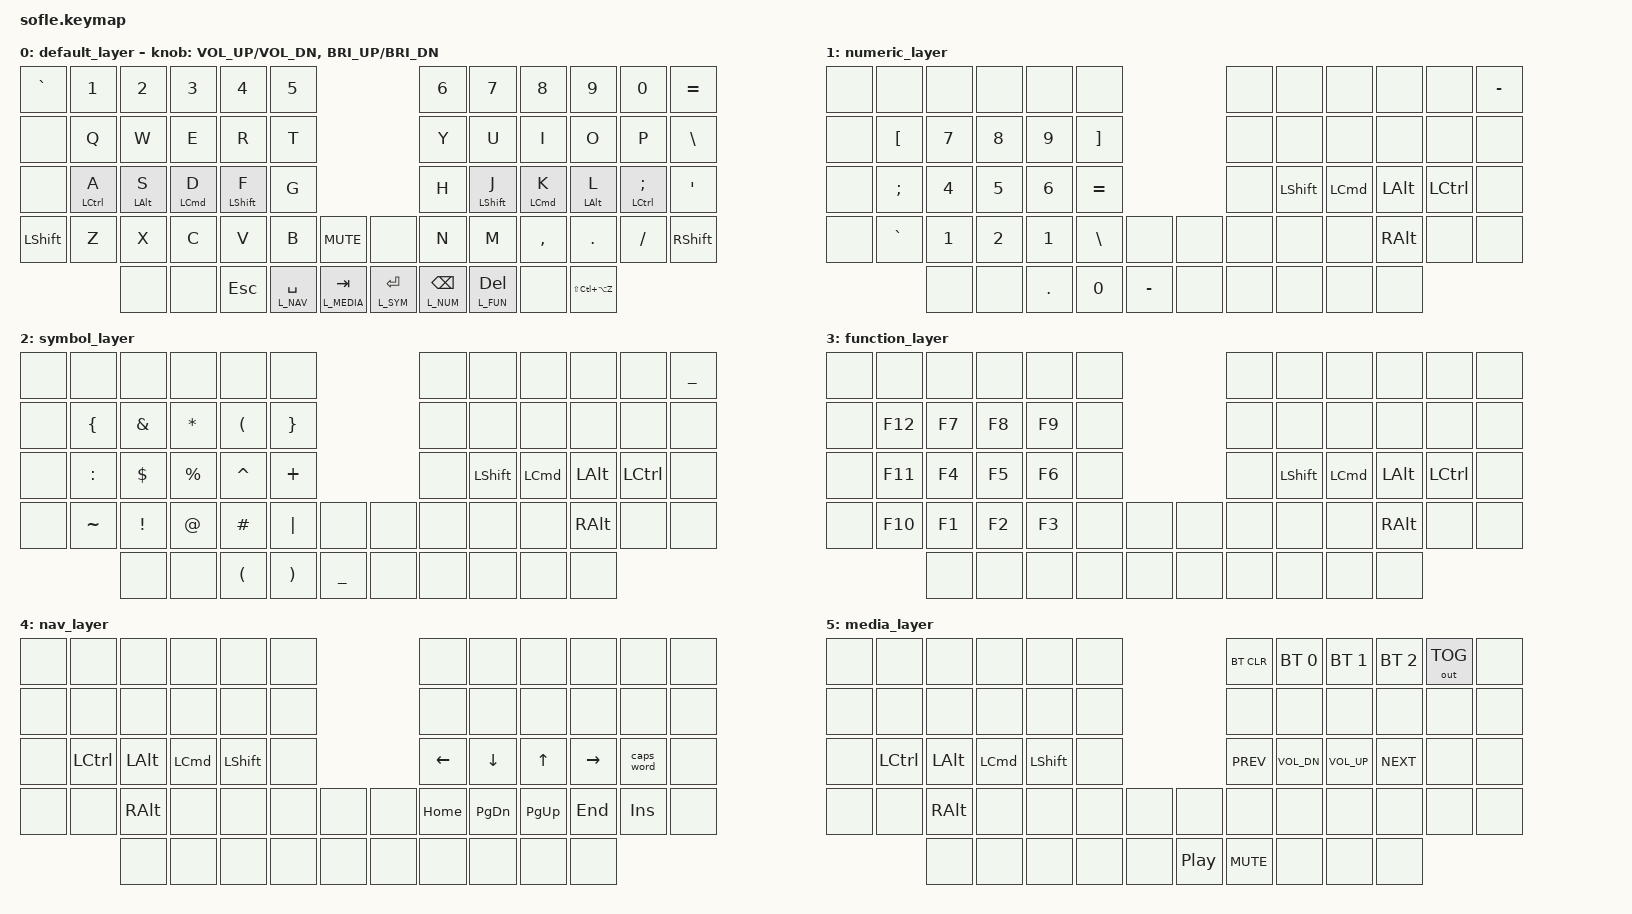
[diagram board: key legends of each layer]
// SPDX-License-Identifier: MIT

#include <behaviors.dtsi>
#include <dt-bindings/zmk/bt.h>
#include <dt-bindings/zmk/keys.h>
#include <dt-bindings/zmk/outputs.h>

#define L_BASE  0
#define L_NUM   1
#define L_SYM   2
#define L_FUN   3
#define L_NAV   4
#define L_MEDIA 5

/ {
    behaviors {
        hm: homerow_mods {
            compatible = "zmk,behavior-hold-tap";
            label = "HOMEROW_MODS";
            #binding-cells = <2>;
            tapping-term-ms = <200>;
            quick_tap_ms = <0>;
            flavor = "tap-preferred";
            bindings = <&kp>, <&kp>;
        };
    };

    keymap {
        compatible = "zmk,keymap";

        default_layer {
            // ------------------------------------------------------------------------------------------------------------
            // |     |  1  |  2  |  3  |  4  |  5  |              |  6  |  7  |  8  |  9  |  0  |     |
            // |     |  Q  |  W  |  E  |  R  |  T  |              |  Y  |  U  |  I  |  O  |  P  |     |
            // |     |  A  |  S  |  D  |  F  |  G  |              |  H  |  J  |  K  |  L  |  '  |     |
            // |     |  Z  |  X  |  C  |  V  |  B  | MUTE | |     |  N  |  M  |  ,  |  .  |  /  |     |
            //             |     |     | ESC |     | TAB  | |  ↵  |  ⌫  |  ␡  |     |     |

            bindings = <
&kp GRAVE       &kp N1       &kp N2      &kp N3      &kp N4       &kp N5                                             &kp N6          &kp N7         &kp N8      &kp N9      &kp N0          &kp EQUAL
&none           &kp Q        &kp W       &kp E       &kp R        &kp T                                              &kp Y           &kp U          &kp I       &kp O       &kp P           &kp BACKSLASH
&none           &hm LCTRL A  &hm LALT S  &hm LCMD D  &hm LSHFT F  &kp G                                              &kp H           &hm LSHFT J    &hm LCMD K  &hm LALT L  &hm LCTRL SEMI  &kp SQT
&kp LEFT_SHIFT  &kp Z        &kp X       &kp C       &kp V        &kp B            &kp C_MUTE         &none          &kp N           &kp M          &kp COMMA   &kp DOT     &kp FSLH        &kp RIGHT_SHIFT
                             &none       &none       &kp ESC      &lt L_NAV SPACE  &lt L_MEDIA TAB    &lt L_SYM RET  &lt L_NUM BSPC  &lt L_FUN DEL  &none       &kp LS(LC(LA(Z)))
            >;

            sensor-bindings = <&inc_dec_kp C_VOL_UP C_VOL_DN &inc_dec_kp C_BRI_UP C_BRI_DN>;
        };

        numeric_layer {
            // ------------------------------------------------------------------------------------------------------------
            // |     |     |     |     |     |     |             |     |       |       |       |       |     |
            // |     |  [  |  7  |  8  |  9  |  ]  |             |     |       |       |       |       |     |
            // |     |  ;  |  4  |  5  |  6  |  =  |             |     | LSHFT | LCMD  | LALT  | LCTRL |     |
            // |     |  `  |  1  |  2  |  3  |  \  |             |     |       |       | RALT  |       |     |
            //             |     |     |  .  |  0  |  -  | |     |     |       |       |       |

            bindings = <
&none  &none      &none   &none   &none    &none                          &none  &none      &none     &none     &none      &kp MINUS
&none  &kp LBKT   &kp N7  &kp N8  &kp N9   &kp RBKT                       &none  &none      &none     &none     &none      &none
&none  &kp SEMI   &kp N4  &kp N5  &kp N6   &kp EQUAL                      &none  &kp LSHFT  &kp LCMD  &kp LALT  &kp LCTRL  &none
&none  &kp GRAVE  &kp N1  &kp N2  &kp N1   &kp BSLH   &none        &none  &none  &none      &none     &kp RALT  &none      &none
                  &none   &none   &kp DOT  &kp N0     &kp MINUS    &none  &none  &none      &none     &none
            >;
        };

        symbol_layer {
            // ------------------------------------------------------------------------------------------------------------
            // |     |     |     |     |     |     |             |     |       |       |       |       |     |
            // |     |  {  |  &  |  *  |  (  |  }  |             |     |       |       |       |       |     |
            // |     |  :  |  $  |  %  |  ^  |  +  |             |     | LSHFT | LCMD  | LALT  | LCTRL |     |
            // |     |  ~  |  !  |  @  |  #  |  |  |             |     |       |       | RALT  |       |     |
            //             |     |     |  (  |  )  |  _  | |     |     |       |       |       |

            bindings = <
&none  &none      &none     &none      &none      &none                         &none  &none      &none     &none     &none      &kp UNDERSCORE
&none  &kp LBRC   &kp AMPS  &kp STAR   &kp LPAR   &kp RBRC                      &none  &none      &none     &none     &none      &none
&none  &kp COLON  &kp DLLR  &kp PRCNT  &kp CARET  &kp PLUS                      &none  &kp LSHFT  &kp LCMD  &kp LALT  &kp LCTRL  &none
&none  &kp TILDE  &kp EXCL  &kp AT     &kp HASH   &kp PIPE  &none        &none  &none  &none      &none     &kp RALT  &none      &none
                  &none     &none      &kp LPAR   &kp RPAR  &kp UNDER    &none  &none  &none      &none     &none
            >;
        };

        function_layer {
            // ------------------------------------------------------------------------------------------------------------
            // |     |     |     |     |     |     |              |     |       |       |       |       |     |
            // |     | F12 | F7  | F8  | F9  |     |              |     |       |       |       |       |     |
            // |     | F11 | F4  | F5  | F6  |     |              |     | LSHFT | LCMD  | LALT  | LCTRL |     |
            // |     | F10 | F1  | F2  | F3  |     |     |  |     |     |       |       | RALT  |       |     |
            //             |     |     |     |     |     |  |     |     |       |       |       |

            bindings = <
&none  &none    &none   &none   &none   &none                  &none  &none      &none     &none     &none      &none
&none  &kp F12  &kp F7  &kp F8  &kp F9  &none                  &none  &none      &none     &none     &none      &none
&none  &kp F11  &kp F4  &kp F5  &kp F6  &none                  &none  &kp LSHFT  &kp LCMD  &kp LALT  &kp LCTRL  &none
&none  &kp F10  &kp F1  &kp F2  &kp F3  &none  &none    &none  &none  &none      &none     &kp RALT  &none      &none
                &none   &none   &none   &none  &none    &none  &none  &none      &none     &none
            >;
        };

        nav_layer {
            // ------------------------------------------------------------------------------------------------------------
            // |     |       |       |       |       |     |                |      |      |      |      |      |     |
            // |     |       |       |       |       |     |                |      |      |      |      |      |     |
            // |     | LCTRL | LALT  | LCMD  | LSHFT |     |                |   <  |   v  |  ^   |  >   | CAPS |     |
            // |     |       | RALT  |       |       |     |      |  |      | HOME | PGDN | PGUP | END  | INS  |     |
            //               |       |       |       |     |      |  |      |      |      |      |      |

            bindings = <
&none  &none      &none     &none     &none      &none                  &none     &none      &none      &none      &none       &none
&none  &none      &none     &none     &none      &none                  &none     &none      &none      &none      &none       &none
&none  &kp LCTRL  &kp LALT  &kp LCMD  &kp LSHFT  &none                  &kp LEFT  &kp DOWN   &kp UP     &kp RIGHT  &caps_word  &none
&none  &none      &kp RALT  &none     &none      &none  &none    &none  &kp HOME  &kp PG_DN  &kp PG_UP  &kp END    &kp INS     &none
                  &none     &none     &none      &none  &none    &none  &none     &none      &none      &none
            >;
        };

        media_layer {
            // ------------------------------------------------------------------------------------------------------------
            // |     |       |       |       |       |     |                | CLR  | BT0  | BT1  | BT2  | OUT  |     |
            // |     |       |       |       |       |     |                |      |      |      |      |      |     |
            // |     | LCTRL | LALT  | LCMD  | LSHFT |     |                | PREV | VOL- | VOL+ | NEXT |      |     |
            // |     |       | RALT  |       |       |     |      |  |      |      |      |      |      |      |     |
            //               |       |       |       |     |      |  | PLAY | MUTE |      |      |      |

            bindings = <
&none  &none      &none     &none     &none      &none                     &bt BT_CLR  &bt BT_SEL 0  &bt BT_SEL 1  &bt BT_SEL 2  &out OUT_TOG  &none
&none  &none      &none     &none     &none      &none                     &none       &none         &none         &none         &none         &none
&none  &kp LCTRL  &kp LALT  &kp LCMD  &kp LSHFT  &none                     &kp C_PREV  &kp C_VOL_DN  &kp C_VOL_UP  &kp C_NEXT    &none         &none
&none  &none      &kp RALT  &none     &none      &none  &none    &none     &none       &none         &none         &none         &none         &none
                  &none     &none     &none      &none  &none    &kp C_PP  &kp C_MUTE  &none         &none         &none
            >;
        };
    };
};
